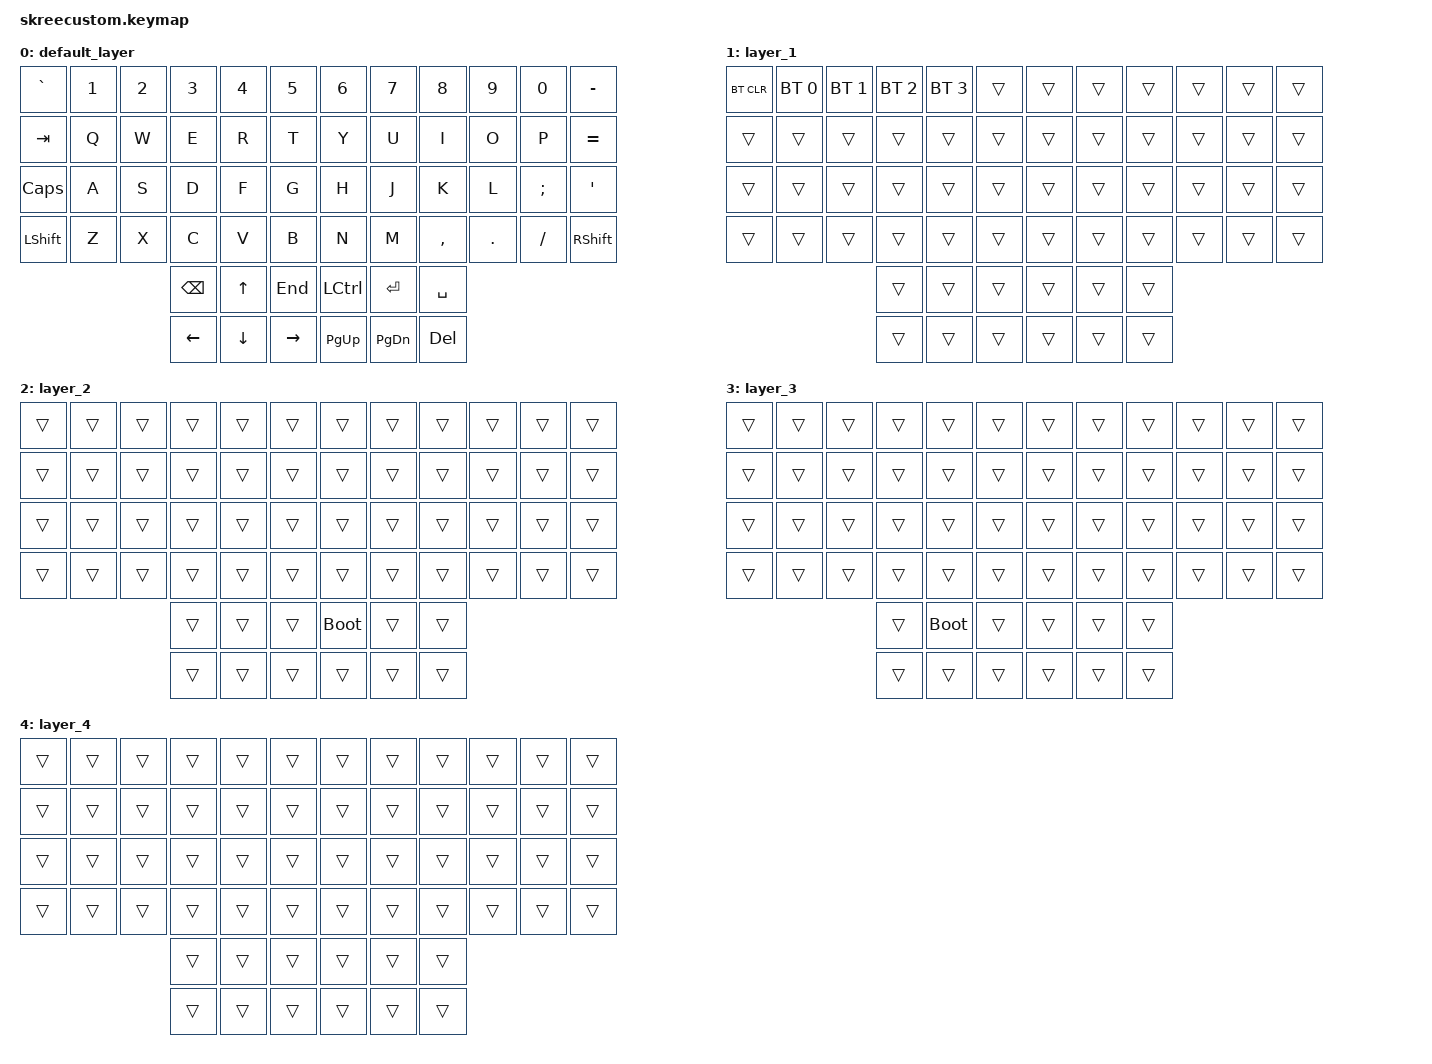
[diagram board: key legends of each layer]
/*
 * Copyright (c) 2020 The ZMK Contributors
 *
 * SPDX-License-Identifier: MIT
 */

#include <input/processors.dtsi>
#include <dt-bindings/zmk/input_transform.h>
#include <behaviors.dtsi>
#include <dt-bindings/zmk/bt.h>
#include <dt-bindings/zmk/keys.h>

/ {
    keymap {
        compatible = "zmk,keymap";

        default_layer {
            bindings = <
&kp GRAVE       &kp N1  &kp N2  &kp N3          &kp N4          &kp N5             &kp N6            &kp N7         &kp N8      &kp N9   &kp N0    &kp MINUS
&kp TAB         &kp Q   &kp W   &kp E           &kp R           &kp T              &kp Y             &kp U          &kp I       &kp O    &kp P     &kp EQUAL
&kp CAPS        &kp A   &kp S   &kp D           &kp F           &kp G              &kp H             &kp J          &kp K       &kp L    &kp SEMI  &kp SQT
&kp LEFT_SHIFT  &kp Z   &kp X   &kp C           &kp V           &kp B              &kp N             &kp M          &kp COMMA   &kp DOT  &kp FSLH  &kp RIGHT_SHIFT
                                &kp BACKSPACE   &kp UP_ARROW    &kp END            &kp LEFT_CONTROL  &kp ENTER      &kp SPACE
                                &kp LEFT_ARROW  &kp DOWN_ARROW  &kp RIGHT_ARROW    &kp PAGE_UP       &kp PAGE_DOWN  &kp DELETE
            >;
        };

        layer_1 {
            bindings = <
&bt BT_CLR  &bt BT_SEL 0  &bt BT_SEL 1  &bt BT_SEL 2  &bt BT_SEL 3  &trans    &trans  &trans  &trans  &trans  &trans  &trans
&trans      &trans        &trans        &trans        &trans        &trans    &trans  &trans  &trans  &trans  &trans  &trans
&trans      &trans        &trans        &trans        &trans        &trans    &trans  &trans  &trans  &trans  &trans  &trans
&trans      &trans        &trans        &trans        &trans        &trans    &trans  &trans  &trans  &trans  &trans  &trans
                                        &trans        &trans        &trans    &trans  &trans  &trans
                                        &trans        &trans        &trans    &trans  &trans  &trans
            >;
        };

        layer_2 {
            bindings = <
&trans  &trans  &trans  &trans  &trans  &trans    &trans       &trans  &trans  &trans  &trans  &trans
&trans  &trans  &trans  &trans  &trans  &trans    &trans       &trans  &trans  &trans  &trans  &trans
&trans  &trans  &trans  &trans  &trans  &trans    &trans       &trans  &trans  &trans  &trans  &trans
&trans  &trans  &trans  &trans  &trans  &trans    &trans       &trans  &trans  &trans  &trans  &trans
                        &trans  &trans  &trans    &bootloader  &trans  &trans
                        &trans  &trans  &trans    &trans       &trans  &trans
            >;
        };

        layer_3 {
            bindings = <
&trans  &trans  &trans  &trans  &trans       &trans    &trans  &trans  &trans  &trans  &trans  &trans
&trans  &trans  &trans  &trans  &trans       &trans    &trans  &trans  &trans  &trans  &trans  &trans
&trans  &trans  &trans  &trans  &trans       &trans    &trans  &trans  &trans  &trans  &trans  &trans
&trans  &trans  &trans  &trans  &trans       &trans    &trans  &trans  &trans  &trans  &trans  &trans
                        &trans  &bootloader  &trans    &trans  &trans  &trans
                        &trans  &trans       &trans    &trans  &trans  &trans
            >;
        };

        layer_4 {
            bindings = <
&trans  &trans  &trans  &trans  &trans  &trans    &trans  &trans  &trans  &trans  &trans  &trans
&trans  &trans  &trans  &trans  &trans  &trans    &trans  &trans  &trans  &trans  &trans  &trans
&trans  &trans  &trans  &trans  &trans  &trans    &trans  &trans  &trans  &trans  &trans  &trans
&trans  &trans  &trans  &trans  &trans  &trans    &trans  &trans  &trans  &trans  &trans  &trans
                        &trans  &trans  &trans    &trans  &trans  &trans
                        &trans  &trans  &trans    &trans  &trans  &trans
            >;
        };
    };
};

// //right hand trackball overrides
// &trackball_peripheral_listener {
//     input-processors =
//         <&zip_xy_transform INPUT_TRANSFORM_XY_SWAP>,//this gets it to the default installation orientation
//         <&zip_temp_layer 3 500>;//activate layer 3 within 500ms of the trackball moving
// };
// //left hand trackball overrides
// &trackball_central_listener {
//     input-processors = 
//         <&zip_xy_transform INPUT_TRANSFORM_XY_SWAP>,//this gets it to the default installation orientation
//         <&zip_xy_scaler 1 3>,//multiply sensitivity by 1, divide by 3 (make it slower for scrolling)
//         <&zip_xy_to_scroll_mapper>,//make this trackball output scrolling events by default instead of cursor movement
//         <&zip_scroll_transform INPUT_TRANSFORM_Y_INVERT>;//invert vertical scrolling so that the view moves in the same direction as the top of the trackball.
// };
